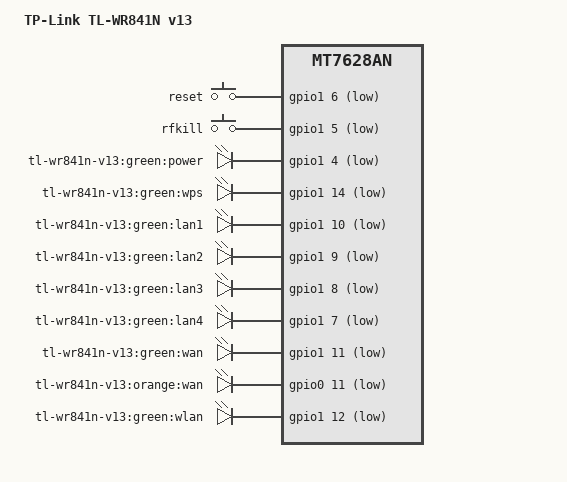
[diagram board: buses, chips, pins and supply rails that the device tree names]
/dts-v1/;

#include "TPLINK-8M.dtsi"

#include <dt-bindings/gpio/gpio.h>
#include <dt-bindings/input/input.h>

/ {
	compatible = "tplink,tl-wr841n-v13", "mediatek,mt7628an-soc";
	model = "TP-Link TL-WR841N v13";

	aliases {
		led-boot = &led_power;
		led-failsafe = &led_power;
		led-running = &led_power;
		led-upgrade = &led_power;
	};

	gpio-keys-polled {
		compatible = "gpio-keys-polled";
		poll-interval = <20>;

		reset {
			label = "reset";
			gpios = <&gpio1 6 GPIO_ACTIVE_LOW>;
			linux,code = <KEY_RESTART>;
		};

		rfkill {
			label = "rfkill";
			gpios = <&gpio1 5 GPIO_ACTIVE_LOW>;
			linux,code = <KEY_RFKILL>;
		};
	};

	gpio-leds {
		compatible = "gpio-leds";

		led_power: power {
			label = "tl-wr841n-v13:green:power";
			gpios = <&gpio1 4 GPIO_ACTIVE_LOW>;
		};

		wps {
			label = "tl-wr841n-v13:green:wps";
			gpios = <&gpio1 14 GPIO_ACTIVE_LOW>;
		};

		lan1 {
			label = "tl-wr841n-v13:green:lan1";
			gpios = <&gpio1 10 GPIO_ACTIVE_LOW>;
		};

		lan2 {
			label = "tl-wr841n-v13:green:lan2";
			gpios = <&gpio1 9 GPIO_ACTIVE_LOW>;
		};

		lan3 {
			label = "tl-wr841n-v13:green:lan3";
			gpios = <&gpio1 8 GPIO_ACTIVE_LOW>;
		};

		lan4 {
			label = "tl-wr841n-v13:green:lan4";
			gpios = <&gpio1 7 GPIO_ACTIVE_LOW>;
		};

		wan_green {
			label = "tl-wr841n-v13:green:wan";
			gpios = <&gpio1 11 GPIO_ACTIVE_LOW>;
		};

		wan_orange {
			label = "tl-wr841n-v13:orange:wan";
			gpios = <&gpio0 11 GPIO_ACTIVE_LOW>;
		};

		wlan {
			label = "tl-wr841n-v13:green:wlan";
			gpios = <&gpio1 12 GPIO_ACTIVE_LOW>;
		};
	};
};

&pinctrl {
	state_default: pinctrl0 {
		gpio {
			ralink,group = "gpio", "p0led_an", "p1led_an", "p2led_an", "p3led_an", "p4led_an", "perst", "refclk", "uart1", "wdt", "wled_an";
			ralink,function = "gpio";
		};
	};
};
